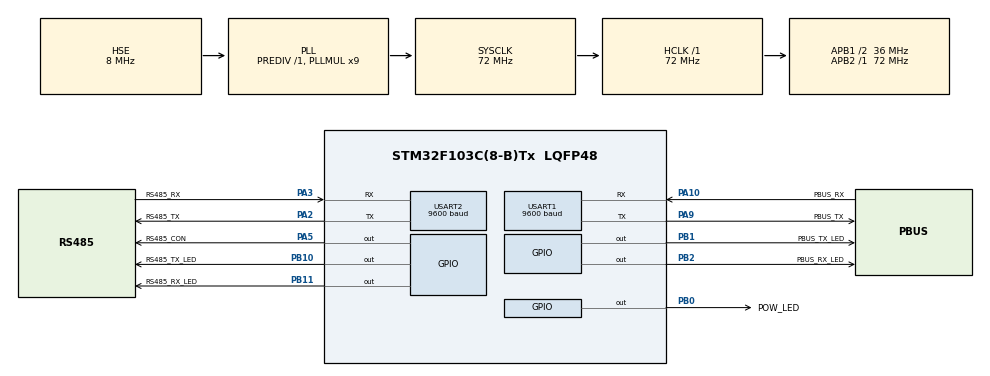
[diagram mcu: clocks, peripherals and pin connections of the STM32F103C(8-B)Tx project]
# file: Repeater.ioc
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Mcu.Family=STM32F1
Mcu.Name=STM32F103C(8-B)Tx
Mcu.Package=LQFP48
NVIC.PriorityGroup=NVIC_PRIORITYGROUP_4
NVIC.RCC_IRQn=true\:0\:0\:false\:false\:true\:true\:false
NVIC.USART1_IRQn=true\:0\:0\:false\:false\:true\:true\:true
NVIC.USART2_IRQn=true\:0\:0\:false\:false\:true\:true\:true
PA10.GPIO_Label=PBUS_RX
PA10.Mode=Asynchronous
PA10.Signal=USART1_RX
PA13.Mode=Serial_Wire
PA13.Signal=SYS_JTMS-SWDIO
PA14.Mode=Serial_Wire
PA14.Signal=SYS_JTCK-SWCLK
PA2.GPIO_Label=RS485_TX
PA2.Mode=Asynchronous
PA2.Signal=USART2_TX
PA3.GPIO_Label=RS485_RX
PA3.Mode=Asynchronous
PA3.Signal=USART2_RX
PA5.GPIO_Label=RS485_CON
PA5.GPIO_Speed=GPIO_SPEED_FREQ_HIGH
PA5.PinState=GPIO_PIN_SET
PA5.Signal=GPIO_Output
PA9.GPIO_Label=PBUS_TX
PA9.Mode=Asynchronous
PA9.Signal=USART1_TX
PB0.GPIO_Label=POW_LED
PB0.GPIO_ModeDefaultOutputPP=GPIO_MODE_OUTPUT_PP
PB0.GPIO_PuPd=GPIO_NOPULL
PB0.GPIO_Speed=GPIO_SPEED_FREQ_HIGH
PB0.PinState=GPIO_PIN_SET
PB0.Signal=GPIO_Output
PB1.GPIO_Label=PBUS_TX_LED
PB1.GPIO_ModeDefaultOutputPP=GPIO_MODE_OUTPUT_PP
PB1.GPIO_PuPd=GPIO_NOPULL
PB1.GPIO_Speed=GPIO_SPEED_FREQ_HIGH
PB1.PinState=GPIO_PIN_SET
PB1.Signal=GPIO_Output
PB10.GPIO_Label=RS485_TX_LED
PB10.GPIO_ModeDefaultOutputPP=GPIO_MODE_OUTPUT_PP
PB10.GPIO_PuPd=GPIO_NOPULL
PB10.GPIO_Speed=GPIO_SPEED_FREQ_HIGH
PB10.PinState=GPIO_PIN_SET
PB10.Signal=GPIO_Output
PB11.GPIO_Label=RS485_RX_LED
PB11.GPIO_ModeDefaultOutputPP=GPIO_MODE_OUTPUT_PP
PB11.GPIO_PuPd=GPIO_NOPULL
PB11.GPIO_Speed=GPIO_SPEED_FREQ_HIGH
PB11.PinState=GPIO_PIN_SET
PB11.Signal=GPIO_Output
PB2.GPIO_Label=PBUS_RX_LED
PB2.GPIO_ModeDefaultOutputPP=GPIO_MODE_OUTPUT_PP
PB2.GPIO_PuPd=GPIO_NOPULL
PB2.GPIO_Speed=GPIO_SPEED_FREQ_HIGH
PB2.PinState=GPIO_PIN_SET
PB2.Signal=GPIO_Output
PB4.Signal=SYS_NJTRST
PD0-OSC_IN.Mode=HSE-External-Clock-Source
PD0-OSC_IN.Signal=RCC_OSC_IN
PD1-OSC_OUT.Mode=HSE-External-Clock-Source
PD1-OSC_OUT.Signal=RCC_OSC_OUT
ProjectManager.HeapSize=0x200
ProjectManager.StackSize=0x400
ProjectManager.TargetToolchain=STM32CubeIDE
RCC.AHBFreq_Value=72000000
RCC.APB1CLKDivider=RCC_HCLK_DIV2
RCC.APB1Freq_Value=36000000
RCC.APB1TimFreq_Value=72000000
RCC.APB2Freq_Value=72000000
RCC.APB2TimFreq_Value=72000000
RCC.HCLKFreq_Value=72000000
RCC.PLLMUL=RCC_PLL_MUL9
RCC.PLLSourceVirtual=RCC_PLLSOURCE_HSE
RCC.SYSCLKFreq_VALUE=72000000
RCC.SYSCLKSource=RCC_SYSCLKSOURCE_PLLCLK
RCC.USBFreq_Value=72000000
USART1.BaudRate=9600
USART1.VirtualMode=VM_ASYNC
USART2.BaudRate=9600
USART2.VirtualMode=VM_ASYNC
board=custom

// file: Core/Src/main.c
/* USER CODE BEGIN Header */
/**
 ******************************************************************************
 * @file           : main.c
 * @brief          : Main program body
 ******************************************************************************
 * @attention
 *
 * <h2><center>&copy; Copyright (c) 2020 STMicroelectronics.
 * All rights reserved.</center></h2>
 *
 * This software component is licensed by ST under BSD 3-Clause license,
 * the "License"; You may not use this file except in compliance with the
 * License. You may obtain a copy of the License at:
 *                        opensource.org/licenses/BSD-3-Clause
 *
 ******************************************************************************
 */
/* USER CODE END Header */

#include "main.h"
#include "usart.h"
#include "gpio.h"

void SystemClock_Config(void);

/* USER CODE BEGIN 0 */
//#define ONEDATA

uint8_t RS485_RX_Flag = 0;
uint8_t RS485_TX_Flag = 0;
uint8_t PBUS_RX_Flag  = 0;
uint8_t PBUS_TX_Flag  = 0;

static uint8_t rs485Data[1] = {0};
static uint8_t pbusData[1]  = {0};
#define DELAYTIME	15
/* USER CODE END 0 */

int main(void)
{

  /* MCU Configuration--------------------------------------------------------*/

  /* Reset of all peripherals, Initializes the Flash interface and the Systick. */
  HAL_Init();

  /* Configure the system clock */
  SystemClock_Config();

  /* Initialize all configured peripherals */
  MX_GPIO_Init();
  MX_USART1_UART_Init();
  MX_USART2_UART_Init();
  /* USER CODE BEGIN 2 */
	POW_LED_ON;
	//RS485_RECV;
	rs485Data[0] = 11;
	HAL_UART_Receive_IT(&huart2, rs485Data, 1); //中断接收到RS485 数据
	RS485_SEND;
  /* USER CODE END 2 */

  /* Infinite loop */
	while (1)
	{

    /* USER CODE BEGIN 3 */
		if (_on == PBUS_RX_Flag) {
			PBUS_RX_Flag = _off;
			PBUS_RX_LED_ON;
		}
		HAL_Delay(DELAYTIME);
		PBUS_RX_LED_OFF;

		if (_on == PBUS_TX_Flag) {
			PBUS_TX_Flag = _off;
			PBUS_TX_LED_ON;
		}
		HAL_Delay(DELAYTIME);
		PBUS_TX_LED_OFF;

		if (_on == RS485_RX_Flag) {
			RS485_RX_Flag = _off;
			RS485_RX_LED_ON;
		}
		HAL_Delay(DELAYTIME);
		RS485_RX_LED_OFF;

		if (_on == RS485_TX_Flag) {
			RS485_TX_Flag = _off;
			RS485_TX_LED_ON;
		}
		HAL_Delay(DELAYTIME);
		RS485_TX_LED_OFF;

		HAL_UART_Transmit(&huart2, rs485Data, 1, 0xFFFF);

	}
  /* USER CODE END 3 */
}

void SystemClock_Config(void)
{
  RCC_OscInitTypeDef RCC_OscInitStruct = {0};
  RCC_ClkInitTypeDef RCC_ClkInitStruct = {0};

  /** Initializes the CPU, AHB and APB busses clocks
  */
  RCC_OscInitStruct.OscillatorType = RCC_OSCILLATORTYPE_HSE;
  RCC_OscInitStruct.HSEState = RCC_HSE_BYPASS;
  RCC_OscInitStruct.HSEPredivValue = RCC_HSE_PREDIV_DIV1;
  RCC_OscInitStruct.HSIState = RCC_HSI_ON;
  RCC_OscInitStruct.PLL.PLLState = RCC_PLL_ON;
  RCC_OscInitStruct.PLL.PLLSource = RCC_PLLSOURCE_HSE;
  RCC_OscInitStruct.PLL.PLLMUL = RCC_PLL_MUL9;
  if (HAL_RCC_OscConfig(&RCC_OscInitStruct) != HAL_OK)
  {
    Error_Handler();
  }
  /** Initializes the CPU, AHB and APB busses clocks
  */
  RCC_ClkInitStruct.ClockType = RCC_CLOCKTYPE_HCLK|RCC_CLOCKTYPE_SYSCLK
                              |RCC_CLOCKTYPE_PCLK1|RCC_CLOCKTYPE_PCLK2;
  RCC_ClkInitStruct.SYSCLKSource = RCC_SYSCLKSOURCE_PLLCLK;
  RCC_ClkInitStruct.AHBCLKDivider = RCC_SYSCLK_DIV1;
  RCC_ClkInitStruct.APB1CLKDivider = RCC_HCLK_DIV2;
  RCC_ClkInitStruct.APB2CLKDivider = RCC_HCLK_DIV1;

  if (HAL_RCC_ClockConfig(&RCC_ClkInitStruct, FLASH_LATENCY_2) != HAL_OK)
  {
    Error_Handler();
  }
}

/* USER CODE BEGIN 4 */
void HAL_UART_RxCpltCallback(UART_HandleTypeDef *huart)
{
	if (huart == &huart1) {
		PBUS_RX_Flag = _on;
		RS485_SEND;
		if (HAL_OK == HAL_UART_Transmit(&huart2, pbusData, 1, 100)) {
			PBUS_TX_Flag = _on;
		}
		RS485_RECV;

		HAL_UART_Receive_IT(&huart1, pbusData, 1); //中断接收到PBUS数据

	}

	if (huart == &huart2) {
		RS485_RX_Flag = _on;
		if (HAL_OK == HAL_UART_Transmit(&huart1, rs485Data, 1, 100)) {
			RS485_TX_Flag = _on;
		}
		memset(rs485Data,0,sizeof(rs485Data));
		HAL_UART_Receive_IT(&huart2, rs485Data, 1); //中断接收到RS485 数据
	}
}
/* USER CODE END 4 */

void Error_Handler(void)
{
}

/************************ (C) COPYRIGHT STMicroelectronics *****END OF FILE****/
